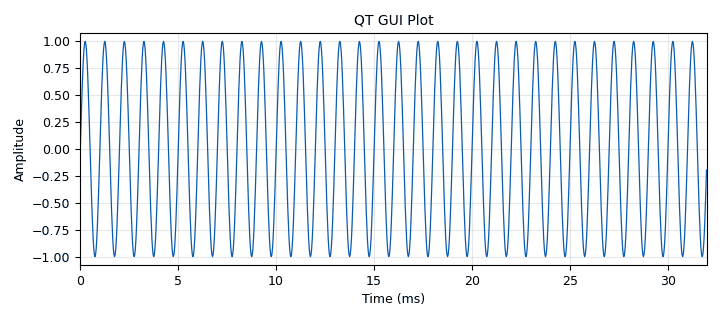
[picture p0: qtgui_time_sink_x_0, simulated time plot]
options:
  parameters:
    author: mathige
    generate_options: qt_gui
    id: if_else
    output_language: python
    title: Python tutorial
  states: {}

blocks:
- name: ampl
  id: variable_qtgui_entry
  parameters:
    type: int
    value: '1'
  states: {}
- name: freq
  id: variable_qtgui_entry
  parameters:
    type: int
    value: '1000'
  states: {}
- name: samp_rate
  id: variable
  parameters:
    value: '32000'
  states: {}
- name: variable_function_probe_0
  id: variable_function_probe
  parameters:
    block_id: probe
    function_name: level
    poll_rate: '10'
    value: '0'
  states: {}
- name: analog_sig_source_x_0
  id: analog_sig_source_x
  parameters:
    amp: '1'
    freq: '0.1'
    offset: '0'
    phase: '0'
    samp_rate: samp_rate
    type: float
    waveform: analog.GR_SQR_WAVE
  states: {}
- name: analog_sig_source_x_0_0
  id: analog_sig_source_x
  parameters:
    amp: ampl
    freq: freq
    offset: '0'
    phase: '0'
    samp_rate: samp_rate
    type: float
    waveform: analog.GR_SIN_WAVE
  states: {}
- name: blocks_throttle2_0
  id: blocks_throttle2
  parameters:
    samples_per_second: samp_rate
    type: float
  states: {}
- name: probe
  id: blocks_probe_signal_x
  parameters:
    type: float
  states: {}
- name: qtgui_time_sink_x_0
  id: qtgui_time_sink_x
  parameters:
    name: QT GUI Plot
    size: '1024'
    srate: samp_rate
    type: float
  states: {}

connections:
- [analog_sig_source_x_0, '0', blocks_throttle2_0, '0']
- [analog_sig_source_x_0_0, '0', qtgui_time_sink_x_0, '0']
- [blocks_throttle2_0, '0', probe, '0']

metadata:
  file_format: 1
  grc_version: 3.10.7.0
